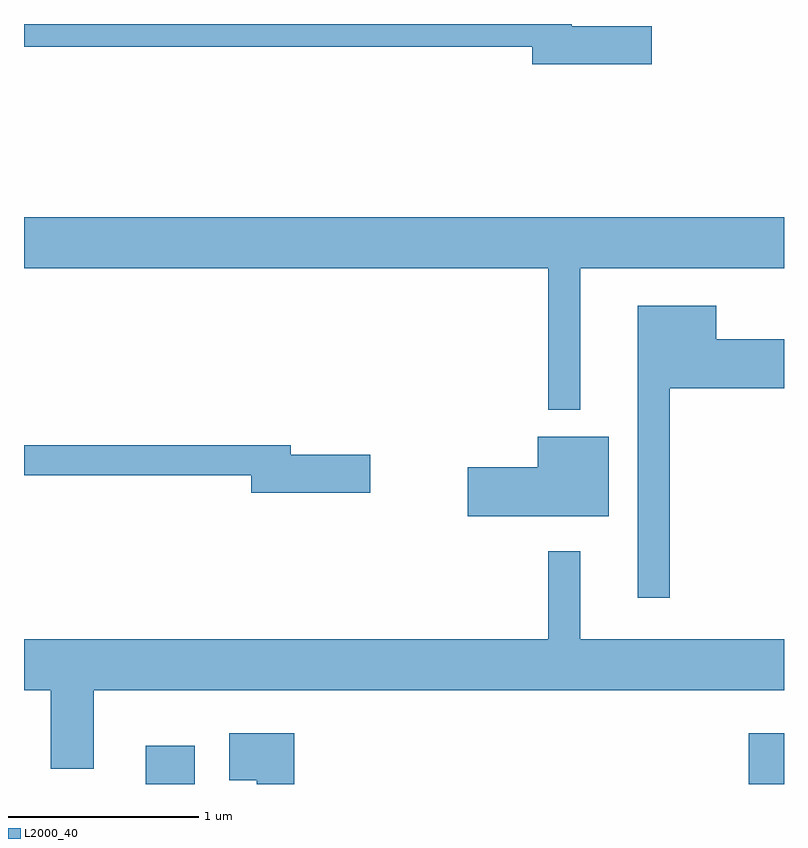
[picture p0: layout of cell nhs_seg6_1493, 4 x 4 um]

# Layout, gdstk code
import gdstk
lib = gdstk.Library(unit=1e-6, precision=1e-09)
def R(c, l, rs):  # rectangles x0, y0, x1, y1
    for r in rs: c.add(gdstk.rectangle(r[:2], r[2:], *l))
def P(c, l, *ps):  # polygons
    for p in ps: c.add(gdstk.Polygon(p, *l))
L2000_40 = (2000, 40)

nhs_seg6_1493 = lib.new_cell('nhs_seg6_1493')
R(nhs_seg6_1493, L2000_40, [(230.251,1596.162,230.509,1596.364), (233.426,1596.162,233.611,1596.429)])
P(nhs_seg6_1493, L2000_40, [(232.914,1600.149),(232.494,1600.149),(232.494,1600.162),(229.611,1600.162),(229.611,1600.041),(232.286,1600.041),(232.286,1599.951),(232.914,1599.951)],
  [(232.539,1598.876),(233.611,1598.876),(233.611,1599.144),(229.611,1599.144),(229.611,1598.876),(232.371,1598.876),(232.371,1598.133),(232.539,1598.133)],
  [(233.009,1598.246),(233.611,1598.246),(233.611,1598.504),(233.254,1598.504),(233.254,1598.679),(232.841,1598.679),(232.841,1597.143),(233.009,1597.143)],
  [(232.689,1597.989),(232.316,1597.989),(232.316,1597.829),(231.946,1597.829),(231.946,1597.571),(232.689,1597.571)],
  [(231.434,1597.894),(231.014,1597.894),(231.014,1597.944),(229.611,1597.944),(229.611,1597.786),(230.806,1597.786),(230.806,1597.696),(231.434,1597.696)],
  [(229.979,1596.656),(233.611,1596.656),(233.611,1596.924),(232.539,1596.924),(232.539,1597.388),(232.371,1597.388),(232.371,1596.924),(229.611,1596.924),(229.611,1596.656),(229.751,1596.656),(229.751,1596.241),(229.979,1596.241)],
  [(231.034,1596.429),(230.691,1596.429),(230.691,1596.181),(230.836,1596.181),(230.836,1596.162),(231.034,1596.162)])

lib.write_gds('nhs_seg6_1493.gds')
